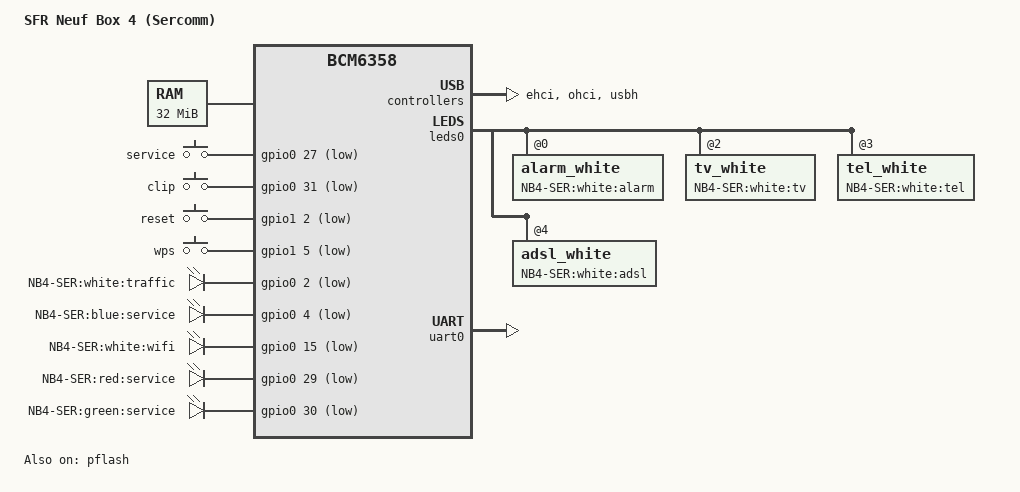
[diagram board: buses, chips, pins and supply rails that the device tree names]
/dts-v1/;

#include "bcm6358.dtsi"

/ {
	compatible = "sfr,nb4-ser", "brcm,bcm6358";
	model = "SFR Neuf Box 4 (Sercomm)";

	chosen {
		bootargs = "console=ttyS0,115200 earlycon";
	};

	aliases {
		led-boot = &service_blue;
		led-failsafe = &service_red;
		led-running = &service_green;

		led-dsl = &adsl_white;
		led-internet = &traffic_white;
		led-wifi = &wifi_white;
	};

	memory@0 {
		device_type = "memory";
		reg = <0x00000000 0x02000000>;
	};

	gpio-keys-polled {
		compatible = "gpio-keys-polled";
		#address-cells = <1>;
		#size-cells = <0>;
		poll-interval = <20>;
		debounce-interval = <60>;

		service {
			label = "service";
			gpios = <&gpio0 27 GPIO_ACTIVE_LOW>;
			linux,code = <BTN_0>;
		};
		clip {
			label = "clip";
			gpios = <&gpio0 31 GPIO_ACTIVE_LOW>;
			linux,code = <BTN_1>;
		};
		reset {
			label = "reset";
			gpios = <&gpio1 2 GPIO_ACTIVE_LOW>;
			linux,code = <KEY_RESTART>;
		};
		wps {
			label = "wps";
			gpios = <&gpio1 5 GPIO_ACTIVE_LOW>;
			linux,code = <KEY_WPS_BUTTON>;
		};
	};

	gpio-leds {
		compatible = "gpio-leds";

		traffic_white: traffic_white {
			label = "NB4-SER:white:traffic";
			gpios = <&gpio0 2 GPIO_ACTIVE_LOW>;
		};
		service_blue: service_blue {
			label = "NB4-SER:blue:service";
			gpios = <&gpio0 4 GPIO_ACTIVE_LOW>;
		};
		wifi_white: wifi_white {
			label = "NB4-SER:white:wifi";
			gpios = <&gpio0 15 GPIO_ACTIVE_LOW>;
		};
		service_red: service_red {
			label = "NB4-SER:red:service";
			gpios = <&gpio0 29 GPIO_ACTIVE_LOW>;
		};
		service_green: service_green {
			label = "NB4-SER:green:service";
			gpios = <&gpio0 30 GPIO_ACTIVE_LOW>;
		};
	};
};

&ehci {
	status = "ok";
};

&leds0 {
	status = "ok";
	brcm,clk-div = <1>;

	alarm_white@0 {
		reg = <0>;
		active-low;
		label = "NB4-SER:white:alarm";
	};
	tv_white@2 {
		reg = <2>;
		active-low;
		label = "NB4-SER:white:tv";
	};
	tel_white@3 {
		reg = <3>;
		active-low;
		label = "NB4-SER:white:tel";
	};
	adsl_white: adsl_white@4 {
		reg = <4>;
		active-low;
		label = "NB4-SER:white:adsl";
	};
};

&ohci {
	status = "ok";
};

&pflash {
	status = "ok";

	partitions {
		compatible = "fixed-partitions";
		#address-cells = <1>;
		#size-cells = <1>;

		cfe@0 {
			label = "cfe";
			reg = <0x000000 0x010000>;
			read-only;
		};
		firmware@10000 {
			label = "firmware";
			reg = <0x010000 0x7e0000>;
		};
		nvram@7f0000 {
			label = "nvram";
			reg = <0x7f0000 0x010000>;
			read-only;
		};
	};
};

&uart0 {
	status = "ok";
};

&usbh {
	status = "ok";
};
